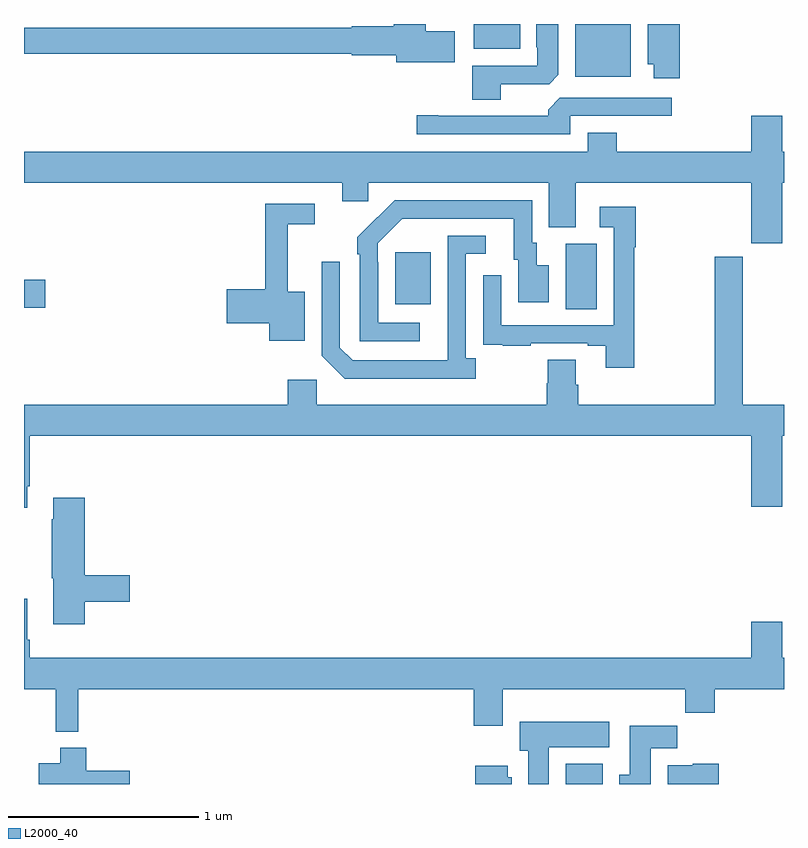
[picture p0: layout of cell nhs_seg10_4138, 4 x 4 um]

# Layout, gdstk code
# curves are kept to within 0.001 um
import gdstk
lib = gdstk.Library(unit=1e-6, precision=1e-09)
def R(c, l, rs):  # rectangles x0, y0, x1, y1
    for r in rs: c.add(gdstk.rectangle(r[:2], r[2:], *l))
def P(c, l, *ps):  # polygons
    for p in ps: c.add(gdstk.Polygon(p, *l))
L2000_40 = (2000, 40)

nhs_seg10_4138 = lib.new_cell('nhs_seg10_4138')
R(nhs_seg10_4138, L2000_40, [(343.85,1282.5,344.047,1282.606), (343.85,1285,344.014,1285.344), (341,1285.007,341.113,1285.154), (342.953,1285.025,343.141,1285.3), (343.901,1286.222,344.194,1286.5), (343.367,1286.369,343.612,1286.5)])
P(nhs_seg10_4138, L2000_40, [(343.51,1286.184),(343.764,1286.184),(343.813,1286.233),(343.813,1286.5),(343.697,1286.5),(343.697,1286.377),(343.701,1286.377),(343.701,1286.28),(343.358,1286.28),(343.358,1286.101),(343.51,1286.101)],
  [(344.45,1286.5),(344.282,1286.5),(344.282,1286.288),(344.315,1286.288),(344.315,1286.214),(344.45,1286.214)],
  [(343.267,1286.463),(343.114,1286.463),(343.114,1286.5),(342.947,1286.5),(342.947,1286.488),(342.726,1286.488),(342.726,1286.48),(341,1286.48),(341,1286.344),(342.726,1286.344),(342.726,1286.336),(342.959,1286.336),(342.959,1286.3),(343.267,1286.3)],
  [(343.875,1286.016),(344.41,1286.016),(344.41,1286.112),(343.821,1286.112),(343.76,1286.05),(343.76,1286.016),(343.18,1286.016),(343.18,1286.021),(343.068,1286.021),(343.068,1285.92),(343.875,1285.92)],
  [(344.992,1285.664),(345,1285.664),(345,1285.828),(344.992,1285.828),(344.992,1286.017),(344.828,1286.017),(344.828,1285.828),(344.12,1285.828),(344.12,1285.927),(343.967,1285.927),(343.967,1285.828),(341,1285.828),(341,1285.664),(342.674,1285.664),(342.674,1285.566),(342.813,1285.566),(342.813,1285.664),(343.763,1285.664),(343.763,1285.429),(343.903,1285.429),(343.903,1285.664),(344.828,1285.664),(344.828,1285.347),(344.992,1285.347)],
  [(343.084,1284.927),(342.864,1284.927),(342.864,1285.247),(342.861,1285.247),(342.861,1285.347),(342.99,1285.476),(343.577,1285.476),(343.577,1285.26),(343.601,1285.26),(343.601,1285.035),(343.762,1285.035),(343.762,1285.231),(343.699,1285.231),(343.699,1285.35),(343.674,1285.35),(343.674,1285.572),(342.95,1285.572),(342.753,1285.377),(342.753,1285.289),(342.768,1285.289),(342.768,1284.831),(343.084,1284.831)],
  [(342.478,1285.09),(342.389,1285.09),(342.389,1285.446),(342.529,1285.446),(342.529,1285.554),(342.271,1285.554),(342.271,1285.103),(342.066,1285.103),(342.066,1284.925),(342.29,1284.925),(342.29,1284.833),(342.478,1284.833)],
  [(344.212,1285.324),(344.219,1285.324),(344.219,1285.537),(344.031,1285.537),(344.031,1285.431),(344.103,1285.431),(344.103,1284.915),(343.512,1284.915),(343.512,1285.177),(343.416,1285.177),(343.416,1284.922),(343.417,1284.922),(343.417,1284.813),(343.519,1284.813),(343.519,1284.807),(343.667,1284.807),(343.667,1284.819),(343.967,1284.819),(343.967,1284.807),(344.063,1284.807),(344.063,1284.69),(344.212,1284.69)],
  [(343.378,1284.742),(343.326,1284.742),(343.326,1285.29),(343.429,1285.29),(343.429,1285.386),(343.23,1285.386),(343.229,1284.729),(342.729,1284.729),(342.663,1284.795),(342.663,1285.249),(342.567,1285.249),(342.567,1284.753),(342.688,1284.632),(343.378,1284.632)],
  [(341.017,1284.067),(341.03,1284.067),(341.03,1284.332),(344.828,1284.332),(344.828,1283.958),(344.992,1283.958),(344.992,1284.332),(345,1284.332),(345,1284.496),(344.782,1284.496),(344.782,1285.275),(344.635,1285.275),(344.635,1284.496),(343.916,1284.496),(343.916,1284.602),(343.903,1284.602),(343.903,1284.734),(343.756,1284.734),(343.756,1284.609),(343.751,1284.609),(343.751,1284.496),(342.54,1284.496),(342.54,1284.628),(342.389,1284.628),(342.389,1284.496),(341,1284.496),(341,1283.955),(341.017,1283.955)],
  [(341.321,1283.458),(341.557,1283.458),(341.557,1283.6),(341.321,1283.6),(341.321,1284.007),(341.153,1284.007),(341.153,1283.894),(341.146,1283.894),(341.146,1283.583),(341.153,1283.583),(341.153,1283.34),(341.321,1283.34)],
  [(341.285,1283),(343.367,1283),(343.367,1282.806),(343.519,1282.806),(343.519,1283),(344.479,1283),(344.479,1282.876),(344.636,1282.876),(344.636,1283),(345,1283),(345,1283.164),(344.992,1283.164),(344.992,1283.353),(344.828,1283.353),(344.828,1283.164),(341.03,1283.164),(341.03,1283.26),(341.017,1283.26),(341.017,1283.476),(341,1283.476),(341,1283),(341.168,1283),(341.168,1282.775),(341.285,1282.775)],
  [(343.762,1282.694),(344.08,1282.694),(344.08,1282.828),(343.61,1282.828),(343.61,1282.674),(343.655,1282.674),(343.655,1282.5),(343.762,1282.5)],
  [(344.299,1282.688),(344.438,1282.688),(344.438,1282.807),(344.189,1282.807),(344.189,1282.548),(344.132,1282.548),(344.132,1282.5),(344.299,1282.5)],
  [(341.557,1282.569),(341.327,1282.569),(341.327,1282.69),(341.192,1282.69),(341.192,1282.609),(341.078,1282.609),(341.078,1282.5),(341.557,1282.5)],
  [(344.656,1282.606),(344.52,1282.606),(344.52,1282.6),(344.387,1282.6),(344.387,1282.5),(344.656,1282.5)],
  [(343.567,1282.536),(343.546,1282.536),(343.546,1282.597),(343.376,1282.597),(343.376,1282.5),(343.567,1282.5)])

lib.write_gds('nhs_seg10_4138.gds')
